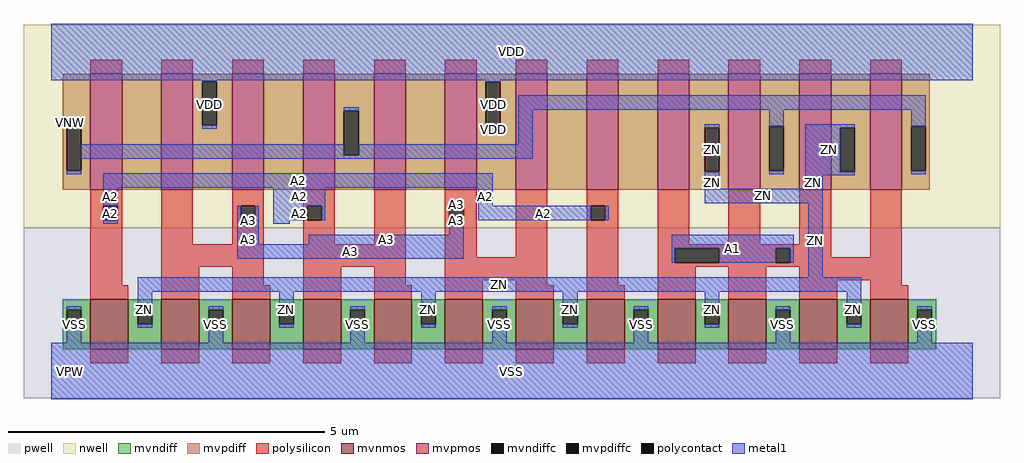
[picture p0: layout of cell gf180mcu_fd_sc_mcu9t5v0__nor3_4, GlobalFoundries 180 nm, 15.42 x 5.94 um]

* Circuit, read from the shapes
.subckt gf180mcu_fd_sc_mcu9t5v0__nor3_4 A1 A2 A3 ZN VDD VNW VPW VSS
XM1 ZN A2 VSS VPW nfet_06v0 w=0.79u l=0.6u m=4
XM2 VSS A3 ZN VPW nfet_06v0 w=0.79u l=0.6u m=4
XM3 ZN A1 VSS VPW nfet_06v0 w=0.79u l=0.6u m=4
XM4 n1 A2 n2 VNW pfet_06v0 w=1.83u l=0.5u
XM5 VDD A3 n1 VNW pfet_06v0 w=1.83u l=0.5u
XM6 n3 A3 VDD VNW pfet_06v0 w=1.83u l=0.5u
XM7 n2 A2 n3 VNW pfet_06v0 w=1.83u l=0.5u
XM8 n4 A2 n2 VNW pfet_06v0 w=1.83u l=0.5u
XM9 VDD A3 n4 VNW pfet_06v0 w=1.83u l=0.5u
XM10 n5 A3 VDD VNW pfet_06v0 w=1.83u l=0.5u
XM11 n6 A2 n5 VNW pfet_06v0 w=1.83u l=0.5u
XM12 ZN A1 n6 VNW pfet_06v0 w=1.83u l=0.5u
XM13 n2 A1 ZN VNW pfet_06v0 w=1.83u l=0.5u m=3
.ends

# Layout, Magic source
magic
tech gf180mcuD
magscale 1 10
<< nwell >>
rect -86 453 2998 1094
<< pwell >>
rect -86 -86 2998 453
<< mvnmos >>
rect 124 69 244 227
rect 348 69 468 227
rect 572 69 692 227
rect 796 69 916 227
rect 1020 69 1140 227
rect 1244 69 1364 227
rect 1468 69 1588 227
rect 1692 69 1812 227
rect 1916 69 2036 227
rect 2140 69 2260 227
rect 2364 69 2484 227
rect 2588 69 2708 227
<< mvpmos >>
rect 124 573 224 939
rect 348 573 448 939
rect 572 573 672 939
rect 796 573 896 939
rect 1020 573 1120 939
rect 1244 573 1344 939
rect 1468 573 1568 939
rect 1692 573 1792 939
rect 1916 573 2016 939
rect 2140 573 2240 939
rect 2364 573 2464 939
rect 2588 573 2688 939
<< mvndiff >>
rect 36 193 124 227
rect 36 147 49 193
rect 95 147 124 193
rect 36 69 124 147
rect 244 193 348 227
rect 244 147 273 193
rect 319 147 348 193
rect 244 69 348 147
rect 468 193 572 227
rect 468 147 497 193
rect 543 147 572 193
rect 468 69 572 147
rect 692 193 796 227
rect 692 147 721 193
rect 767 147 796 193
rect 692 69 796 147
rect 916 193 1020 227
rect 916 147 945 193
rect 991 147 1020 193
rect 916 69 1020 147
rect 1140 193 1244 227
rect 1140 147 1169 193
rect 1215 147 1244 193
rect 1140 69 1244 147
rect 1364 193 1468 227
rect 1364 147 1393 193
rect 1439 147 1468 193
rect 1364 69 1468 147
rect 1588 193 1692 227
rect 1588 147 1617 193
rect 1663 147 1692 193
rect 1588 69 1692 147
rect 1812 193 1916 227
rect 1812 147 1841 193
rect 1887 147 1916 193
rect 1812 69 1916 147
rect 2036 193 2140 227
rect 2036 147 2065 193
rect 2111 147 2140 193
rect 2036 69 2140 147
rect 2260 193 2364 227
rect 2260 147 2289 193
rect 2335 147 2364 193
rect 2260 69 2364 147
rect 2484 193 2588 227
rect 2484 147 2513 193
rect 2559 147 2588 193
rect 2484 69 2588 147
rect 2708 193 2796 227
rect 2708 147 2737 193
rect 2783 147 2796 193
rect 2708 69 2796 147
<< mvpdiff >>
rect 36 773 124 939
rect 36 633 49 773
rect 95 633 124 773
rect 36 573 124 633
rect 224 573 348 939
rect 448 916 572 939
rect 448 776 477 916
rect 523 776 572 916
rect 448 573 572 776
rect 672 573 796 939
rect 896 822 1020 939
rect 896 682 925 822
rect 971 682 1020 822
rect 896 573 1020 682
rect 1120 573 1244 939
rect 1344 914 1468 939
rect 1344 774 1373 914
rect 1419 774 1468 914
rect 1344 573 1468 774
rect 1568 573 1692 939
rect 1792 573 1916 939
rect 2016 769 2140 939
rect 2016 629 2065 769
rect 2111 629 2140 769
rect 2016 573 2140 629
rect 2240 773 2364 939
rect 2240 633 2269 773
rect 2315 633 2364 773
rect 2240 573 2364 633
rect 2464 769 2588 939
rect 2464 629 2493 769
rect 2539 629 2588 769
rect 2464 573 2588 629
rect 2688 773 2776 939
rect 2688 633 2717 773
rect 2763 633 2776 773
rect 2688 573 2776 633
<< mvndiffc >>
rect 49 147 95 193
rect 273 147 319 193
rect 497 147 543 193
rect 721 147 767 193
rect 945 147 991 193
rect 1169 147 1215 193
rect 1393 147 1439 193
rect 1617 147 1663 193
rect 1841 147 1887 193
rect 2065 147 2111 193
rect 2289 147 2335 193
rect 2513 147 2559 193
rect 2737 147 2783 193
<< mvpdiffc >>
rect 49 633 95 773
rect 477 776 523 916
rect 925 682 971 822
rect 1373 774 1419 914
rect 2065 629 2111 769
rect 2269 633 2315 773
rect 2493 629 2539 769
rect 2717 633 2763 773
<< polysilicon >>
rect 124 939 224 983
rect 348 939 448 983
rect 572 939 672 983
rect 796 939 896 983
rect 1020 939 1120 983
rect 1244 939 1344 983
rect 1468 939 1568 983
rect 1692 939 1792 983
rect 1916 939 2016 983
rect 2140 939 2240 983
rect 2364 939 2464 983
rect 2588 939 2688 983
rect 124 522 224 573
rect 124 476 165 522
rect 211 476 224 522
rect 124 271 224 476
rect 348 401 448 573
rect 572 522 672 573
rect 572 476 599 522
rect 645 476 672 522
rect 572 401 672 476
rect 348 329 672 401
rect 124 227 244 271
rect 348 227 468 329
rect 572 271 672 329
rect 796 522 896 573
rect 796 476 809 522
rect 855 476 896 522
rect 796 401 896 476
rect 1020 401 1120 573
rect 796 329 1120 401
rect 572 227 692 271
rect 796 227 916 329
rect 1020 271 1120 329
rect 1244 522 1344 573
rect 1244 476 1257 522
rect 1303 476 1344 522
rect 1244 359 1344 476
rect 1468 359 1568 573
rect 1244 287 1568 359
rect 1020 227 1140 271
rect 1244 227 1364 287
rect 1468 271 1568 287
rect 1692 522 1792 573
rect 1692 476 1705 522
rect 1751 476 1792 522
rect 1692 271 1792 476
rect 1916 401 2016 573
rect 2140 401 2240 573
rect 2364 401 2464 573
rect 1916 388 2464 401
rect 1916 342 1971 388
rect 2111 342 2289 388
rect 2335 359 2464 388
rect 2588 359 2688 573
rect 2335 342 2688 359
rect 1916 329 2688 342
rect 1468 227 1588 271
rect 1692 227 1812 271
rect 1916 227 2036 329
rect 2140 227 2260 329
rect 2364 287 2688 329
rect 2364 227 2484 287
rect 2588 271 2688 287
rect 2588 227 2708 271
rect 124 25 244 69
rect 348 25 468 69
rect 572 25 692 69
rect 796 25 916 69
rect 1020 25 1140 69
rect 1244 25 1364 69
rect 1468 25 1588 69
rect 1692 25 1812 69
rect 1916 25 2036 69
rect 2140 25 2260 69
rect 2364 25 2484 69
rect 2588 25 2708 69
<< polycontact >>
rect 165 476 211 522
rect 599 476 645 522
rect 809 476 855 522
rect 1257 476 1303 522
rect 1705 476 1751 522
rect 1971 342 2111 388
rect 2289 342 2335 388
<< metal1 >>
rect 0 918 2912 1098
rect 477 916 523 918
rect 49 773 95 784
rect 1373 914 1419 918
rect 477 765 523 776
rect 925 822 971 833
rect 95 682 925 717
rect 1373 763 1419 774
rect 1475 826 2763 872
rect 1475 717 1521 826
rect 971 682 1521 717
rect 95 671 1521 682
rect 2065 769 2111 780
rect 49 622 95 633
rect 165 579 1395 625
rect 165 522 211 579
rect 702 522 866 579
rect 165 465 211 476
rect 588 476 599 522
rect 645 476 656 522
rect 588 400 656 476
rect 702 476 809 522
rect 855 476 866 522
rect 1257 522 1303 533
rect 1349 522 1395 579
rect 2065 576 2111 629
rect 2269 773 2315 826
rect 2269 622 2315 633
rect 2382 769 2539 780
rect 2382 629 2493 769
rect 2382 618 2539 629
rect 2717 773 2763 826
rect 2717 622 2763 633
rect 2382 576 2438 618
rect 2065 530 2438 576
rect 1349 476 1705 522
rect 1751 476 1762 522
rect 702 466 754 476
rect 1257 430 1303 476
rect 814 400 1303 430
rect 588 354 1303 400
rect 1960 388 2346 430
rect 1960 342 1971 388
rect 2111 342 2289 388
rect 2335 342 2346 388
rect 2392 296 2438 530
rect 273 250 2559 296
rect 49 193 95 204
rect 49 90 95 147
rect 273 193 319 250
rect 273 136 319 147
rect 497 193 543 204
rect 497 90 543 147
rect 721 193 767 250
rect 721 136 767 147
rect 945 193 991 204
rect 945 90 991 147
rect 1169 193 1215 250
rect 1169 136 1215 147
rect 1393 193 1439 204
rect 1393 90 1439 147
rect 1617 193 1663 250
rect 1617 136 1663 147
rect 1841 193 1887 204
rect 1841 90 1887 147
rect 2065 193 2111 250
rect 2065 136 2111 147
rect 2289 193 2335 204
rect 2289 90 2335 147
rect 2513 193 2559 250
rect 2513 136 2559 147
rect 2737 193 2783 204
rect 2737 90 2783 147
rect 0 -90 2912 90
<< labels >>
flabel metal1 s 1960 342 2346 430 0 FreeSans 200 0 0 0 A1
port 1 nsew default input
flabel metal1 s 165 579 1395 625 0 FreeSans 200 0 0 0 A2
port 2 nsew default input
flabel metal1 s 1257 522 1303 533 0 FreeSans 200 0 0 0 A3
port 3 nsew default input
flabel metal1 s 0 918 2912 1098 0 FreeSans 200 0 0 0 VDD
port 5 nsew power bidirectional abutment
flabel metal1 s 2737 90 2783 204 0 FreeSans 200 0 0 0 VSS
port 8 nsew ground bidirectional abutment
flabel metal1 s 2382 618 2539 780 0 FreeSans 200 0 0 0 ZN
port 4 nsew default output
flabel nwell s 10 734 110 834 0 FreeSans 400 0 0 0 VNW
port 6 nsew power bidirectional
flabel pwell s 10 -50 110 50 0 FreeSans 400 0 0 0 VPW
port 7 nsew ground bidirectional
rlabel metal1 s 1349 522 1395 579 1 A2
port 2 nsew default input
rlabel metal1 s 702 522 866 579 1 A2
port 2 nsew default input
rlabel metal1 s 165 522 211 579 1 A2
port 2 nsew default input
rlabel metal1 s 1349 476 1762 522 1 A2
port 2 nsew default input
rlabel metal1 s 702 476 866 522 1 A2
port 2 nsew default input
rlabel metal1 s 165 476 211 522 1 A2
port 2 nsew default input
rlabel metal1 s 702 466 754 476 1 A2
port 2 nsew default input
rlabel metal1 s 165 466 211 476 1 A2
port 2 nsew default input
rlabel metal1 s 165 465 211 466 1 A2
port 2 nsew default input
rlabel metal1 s 1257 430 1303 522 1 A3
port 3 nsew default input
rlabel metal1 s 588 430 656 522 1 A3
port 3 nsew default input
rlabel metal1 s 814 400 1303 430 1 A3
port 3 nsew default input
rlabel metal1 s 588 400 656 430 1 A3
port 3 nsew default input
rlabel metal1 s 588 354 1303 400 1 A3
port 3 nsew default input
rlabel metal1 s 2065 618 2111 780 1 ZN
port 4 nsew default output
rlabel metal1 s 2382 576 2438 618 1 ZN
port 4 nsew default output
rlabel metal1 s 2065 576 2111 618 1 ZN
port 4 nsew default output
rlabel metal1 s 2065 530 2438 576 1 ZN
port 4 nsew default output
rlabel metal1 s 2392 296 2438 530 1 ZN
port 4 nsew default output
rlabel metal1 s 273 250 2559 296 1 ZN
port 4 nsew default output
rlabel metal1 s 2513 136 2559 250 1 ZN
port 4 nsew default output
rlabel metal1 s 2065 136 2111 250 1 ZN
port 4 nsew default output
rlabel metal1 s 1617 136 1663 250 1 ZN
port 4 nsew default output
rlabel metal1 s 1169 136 1215 250 1 ZN
port 4 nsew default output
rlabel metal1 s 721 136 767 250 1 ZN
port 4 nsew default output
rlabel metal1 s 273 136 319 250 1 ZN
port 4 nsew default output
rlabel metal1 s 1373 765 1419 918 1 VDD
port 5 nsew power bidirectional abutment
rlabel metal1 s 477 765 523 918 1 VDD
port 5 nsew power bidirectional abutment
rlabel metal1 s 1373 763 1419 765 1 VDD
port 5 nsew power bidirectional abutment
rlabel metal1 s 2289 90 2335 204 1 VSS
port 8 nsew ground bidirectional abutment
rlabel metal1 s 1841 90 1887 204 1 VSS
port 8 nsew ground bidirectional abutment
rlabel metal1 s 1393 90 1439 204 1 VSS
port 8 nsew ground bidirectional abutment
rlabel metal1 s 945 90 991 204 1 VSS
port 8 nsew ground bidirectional abutment
rlabel metal1 s 497 90 543 204 1 VSS
port 8 nsew ground bidirectional abutment
rlabel metal1 s 49 90 95 204 1 VSS
port 8 nsew ground bidirectional abutment
rlabel metal1 s 0 -90 2912 90 1 VSS
port 8 nsew ground bidirectional abutment
<< properties >>
string FIXED_BBOX 0 0 2912 1008
string GDS_END 98460
string GDS_FILE $PDKPATH/libs.ref/gf180mcu_fd_sc_mcu9t5v0/gds/gf180mcu_fd_sc_mcu9t5v0.gds
string GDS_START 92538
string LEFclass core
string LEFsite GF018hv5v_green_sc9
string LEFsymmetry X Y
<< end >>
